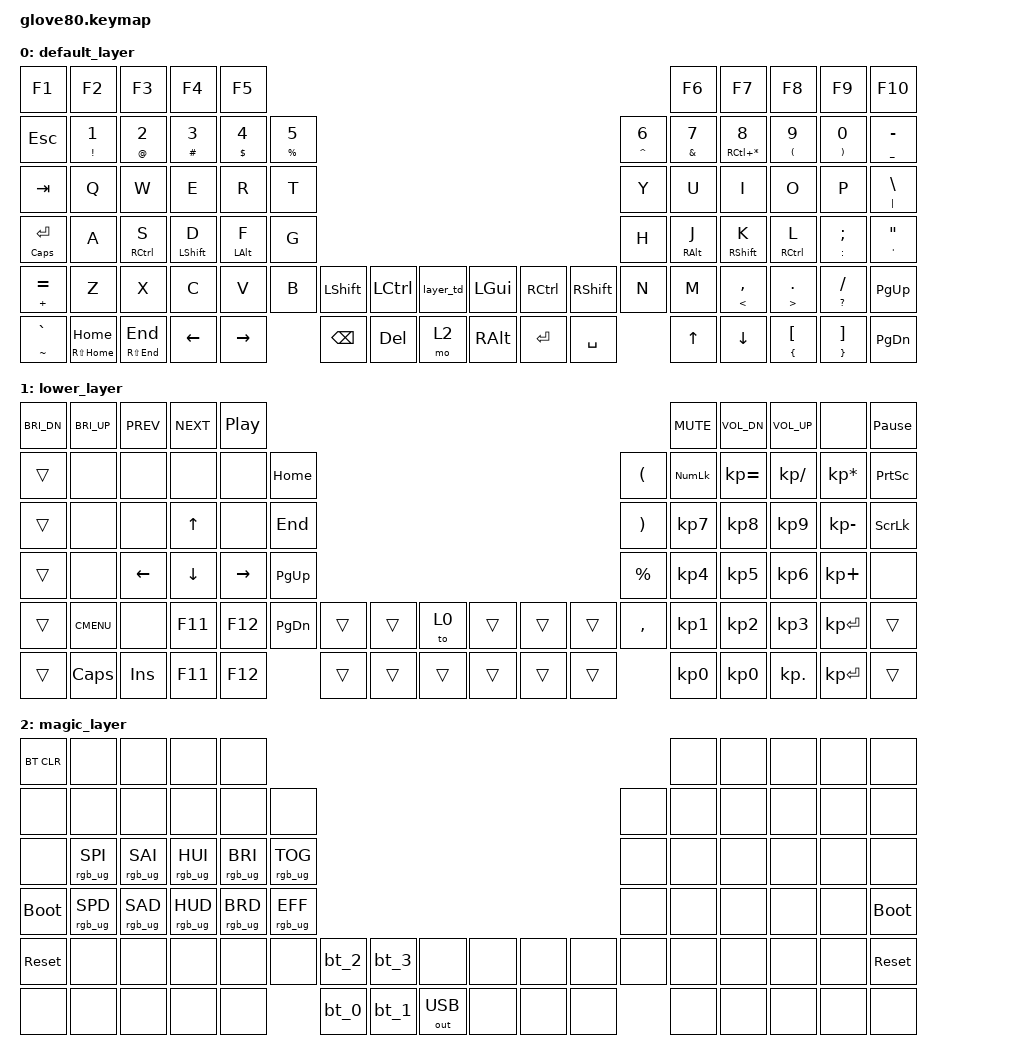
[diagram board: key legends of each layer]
/*
 * Copyright (c) 2020 The ZMK Contributors
 *
 * SPDX-License-Identifier: MIT
 */

#include <behaviors.dtsi>
#include <dt-bindings/zmk/bt.h>
#include <dt-bindings/zmk/keys.h>
#include <dt-bindings/zmk/outputs.h>
#include <dt-bindings/zmk/rgb.h>

// layers

#define DEFAULT 0
#define LOWER 1
#define MAGIC 2

/ {
    behaviors {
        // For the "layer" key, it'd nice to be able to use it as either a shift or a toggle.
        // Configure it as a tap dance, so the first tap (or hold) is a &mo and the second tap is a &to

        layer_td: tap_dance_0 {
            compatible = "zmk,behavior-tap-dance";
            #binding-cells = <0>;
            tapping-term-ms = <200>;
            bindings = <&mo 1>, <&to 1>;
        };

        ht: ht {
            compatible = "zmk,behavior-hold-tap";
            label = "HT";
            bindings = <&kp>, <&kp>;

            #binding-cells = <2>;
            tapping-term-ms = <220>;
            quick-tap-ms = <150>;
            flavor = "tap-preferred";
        };
    };

    macros {
        bt_0: bt_profile_macro_0 {
            compatible = "zmk,behavior-macro";
            #binding-cells = <0>;
            bindings = <&out OUT_BLE &bt BT_SEL 0>;
        };

        bt_1: bt_profile_macro_1 {
            compatible = "zmk,behavior-macro";
            #binding-cells = <0>;
            bindings = <&out OUT_BLE &bt BT_SEL 1>;
        };

        bt_2: bt_profile_macro_2 {
            compatible = "zmk,behavior-macro";
            #binding-cells = <0>;
            bindings = <&out OUT_BLE &bt BT_SEL 2>;
        };

        bt_3: bt_profile_macro_3 {
            compatible = "zmk,behavior-macro";
            #binding-cells = <0>;
            bindings = <&out OUT_BLE &bt BT_SEL 3>;
        };
    };

    keymap {
        compatible = "zmk,keymap";

        default_layer {
            // ---------------------------------------------------------------------------------------------------------------------------------
            // |  F1   |  F2 |  F3 |  F4  |  F5  |                                                               |  F6   |  F7   |  F8  |   F9  |  F10 |
            // |  =    |  1  |  2  |  3   |  4   |  5   |                                                 |  6   |   7   |   8   |  9   |   0   |   -  |
            // |  TAB  |  Q  |  W  |  E   |  R   |  T   |                                                 |  Y   |   U   |   I   |  O   |   P   |   \  |
            // |  ESC  |  A  |  S  |  D   |  F   |  G   |                                                 |  H   |   J   |   K   |  L   |   ;   |   '  |
            // |   `   |  Z  |  X  |  C   |  V   |  B   | LSHFT | LCTRL | LOWER | | LGUI  | RCTRL | RSHFT |  N   |   M   |   ,   |  .   |   /   | PGUP |
            // | MAGIC | HOME| END | LEFT | RIGHT|      | BSPC  | DEL   | LALT  | | RALT  | RET   | SPACE |      |  UP   | DOWN  |  [   |   ]   | PGDN |

            bindings = <
&kp F1              &kp F2                    &kp F3                &kp F4             &kp F5                                                                                                                            &kp F6            &kp F7               &kp F8                         &kp F9                         &kp F10
&kp ESCAPE          &ht EXCLAMATION NUMBER_1  &ht AT_SIGN NUMBER_2  &ht HASH NUMBER_3  &ht DOLLAR NUMBER_4  &ht PERCENT NUMBER_5                                                                     &ht CARET NUMBER_6  &ht AMPERSAND N7  &ht RC(ASTERISK) N8  &ht LEFT_PARENTHESIS NUMBER_9  &ht RIGHT_PARENTHESIS N0       &ht UNDERSCORE MINUS
&kp TAB             &kp Q                     &kp W                 &kp E              &kp R                &kp T                                                                                    &kp Y               &kp U             &kp I                &kp O                          &kp P                          &ht PIPE BACKSLASH
&ht CAPSLOCK ENTER  &kp A                     &ht RIGHT_CONTROL S   &ht LEFT_SHIFT D   &ht LEFT_ALT F       &kp G                                                                                    &kp H               &ht RIGHT_ALT J   &ht RIGHT_SHIFT K    &ht RIGHT_CONTROL L            &ht COLON SEMICOLON            &ht SINGLE_QUOTE DOUBLE_QUOTES
&ht PLUS EQUAL      &kp Z                     &kp X                 &kp C              &kp V                &kp B                 &kp LSHFT  &kp LCTRL  &layer_td    &kp LGUI  &kp RCTRL  &kp RSHFT  &kp N               &kp M             &ht LESS_THAN COMMA  &ht GREATER_THAN DOT           &ht QUESTION SLASH             &kp PG_UP
&ht TILDE GRAVE     &ht RS(HOME) HOME         &ht RS(END) END       &kp LEFT           &kp RIGHT                                  &kp BSPC   &kp DEL    &mo 2        &kp RALT  &kp RET    &kp SPACE                      &kp UP            &kp DOWN             &ht LEFT_BRACE LEFT_BRACKET    &ht RIGHT_BRACE RIGHT_BRACKET  &kp PG_DN
            >;
        };

        lower_layer {
            bindings = <
&kp C_BRI_DN  &kp C_BRI_UP  &kp C_PREV  &kp C_NEXT  &kp C_PP                                                                           &kp C_MUTE  &kp C_VOL_DN  &kp C_VOL_UP   &none            &kp PAUSE_BREAK
&trans        &none         &none       &none       &none      &kp HOME                                                     &kp LPAR   &kp KP_NUM  &kp KP_EQUAL  &kp KP_DIVIDE  &kp KP_MULTIPLY  &kp PSCRN
&trans        &none         &none       &kp UP      &none      &kp END                                                      &kp RPAR   &kp KP_N7   &kp KP_N8     &kp KP_N9      &kp KP_MINUS     &kp SLCK
&trans        &none         &kp LEFT    &kp DOWN    &kp RIGHT  &kp PG_UP                                                    &kp PRCNT  &kp KP_N4   &kp KP_N5     &kp KP_N6      &kp KP_PLUS      &none
&trans        &kp K_CMENU   &none       &kp F11     &kp F12    &kp PG_DN  &trans  &trans  &to 0     &trans  &trans  &trans  &kp COMMA  &kp KP_N1   &kp KP_N2     &kp KP_N3      &kp KP_ENTER     &trans
&trans        &kp CAPS      &kp INS     &kp F11     &kp F12               &trans  &trans  &trans    &trans  &trans  &trans             &kp KP_N0   &kp KP_N0     &kp KP_DOT     &kp KP_ENTER     &trans
            >;
        };

        magic_layer {
            bindings = <
&bt BT_CLR   &none            &none            &none            &none                                                                                       &none  &none  &none  &none  &none
&none        &none            &none            &none            &none            &none                                                               &none  &none  &none  &none  &none  &none
&none        &rgb_ug RGB_SPI  &rgb_ug RGB_SAI  &rgb_ug RGB_HUI  &rgb_ug RGB_BRI  &rgb_ug RGB_TOG                                                     &none  &none  &none  &none  &none  &none
&bootloader  &rgb_ug RGB_SPD  &rgb_ug RGB_SAD  &rgb_ug RGB_HUD  &rgb_ug RGB_BRD  &rgb_ug RGB_EFF                                                     &none  &none  &none  &none  &none  &bootloader
&sys_reset   &none            &none            &none            &none            &none            &bt_2  &bt_3  &none           &none  &none  &none  &none  &none  &none  &none  &none  &sys_reset
&none        &none            &none            &none            &none                             &bt_0  &bt_1  &out OUT_USB    &none  &none  &none         &none  &none  &none  &none  &none
            >;
        };
    };
};
